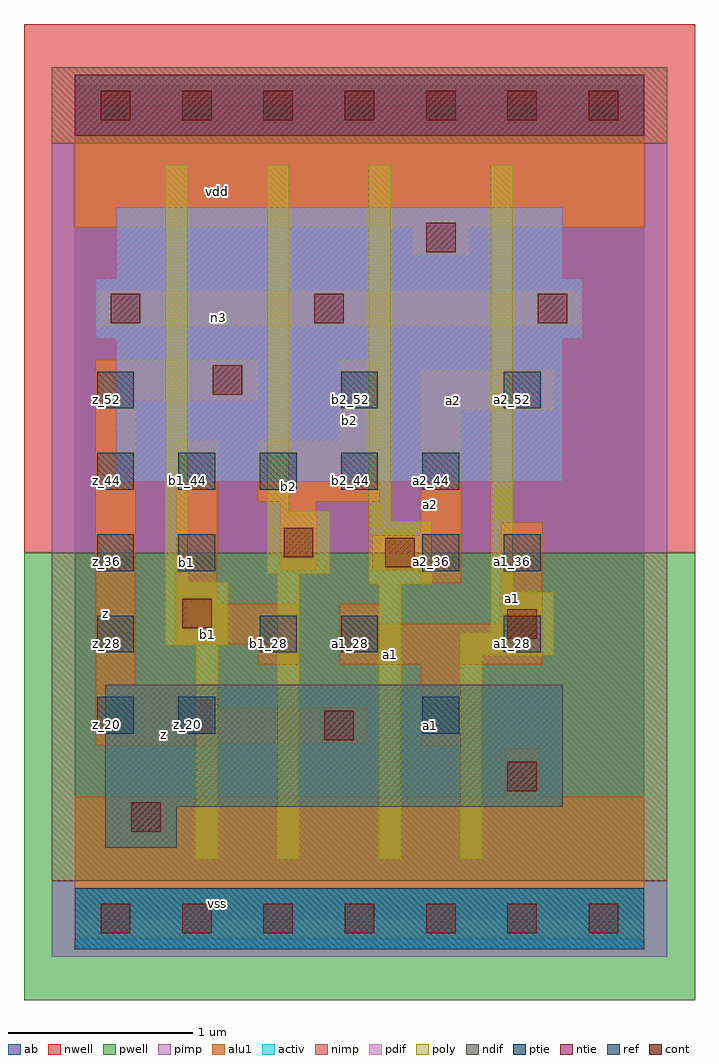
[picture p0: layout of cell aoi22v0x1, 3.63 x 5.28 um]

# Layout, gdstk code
import gdstk
lib = gdstk.Library(unit=1e-6, precision=2.5e-09)
def R(c, l, rs):  # rectangles x0, y0, x1, y1
    for r in rs: c.add(gdstk.rectangle(r[:2], r[2:], *l))
def A(c, l, x, y, w, h, nx, ny, dx, dy):  # array of equal rectangles
    R(c, l, [(x+i*dx, y+j*dy, x+i*dx+w, y+j*dy+h) for i in range(nx) for j in range(ny)])
ndif = (3, 0)
pdif = (4, 0)
ntie = (5, 0)
ptie = (6, 0)
ref = (24, 0)
cont = (25, 0)
pwell = (41, 0)
nwell = (42, 0)
activ = (43, 0)
pimp = (44, 0)
nimp = (45, 0)
poly = (46, 0)
alu1 = (49, 0)
ab = (63, 0)

aoi22v0x1 = lib.new_cell('aoi22v0x1')
R(aoi22v0x1, ndif, [(0.165,0.385,0.55,0.605), (0.165,0.605,2.64,1.265)])
R(aoi22v0x1, pdif, [(0.22,2.365,2.64,3.135), (0.11,3.135,2.75,3.465), (0.22,3.465,2.64,3.85)])
R(aoi22v0x1, ntie, [(0,4.235,3.08,4.565)])
R(aoi22v0x1, ptie, [(0,-0.165,3.08,0.165)])
A(aoi22v0x1, ref, 0.12, 1, 0.2, 0.2, 1, 3, 0, 0.44)
A(aoi22v0x1, ref, 0.12, 2.32, 0.2, 0.2, 5, 1, 0.44, 0)
R(aoi22v0x1, ref, [(0.56,1,0.76,1.2), (1.88,1,2.08,1.2), (1,1.44,1.2,1.64), (1.44,1.44,1.64,1.64), (2.32,1.44,2.52,1.64), (0.56,1.88,0.76,2.08), (1.88,1.88,2.08,2.08), (2.32,1.88,2.52,2.08), (0.12,2.76,0.32,2.96), (1.44,2.76,1.64,2.96), (2.32,2.76,2.52,2.96)])
A(aoi22v0x1, cont, 0.14, -0.08, 0.16, 0.16, 7, 2, 0.44, 4.4)
R(aoi22v0x1, cont, [(0.305,0.47,0.465,0.63), (2.34,0.69,2.5,0.85), (1.35,0.965,1.51,1.125), (2.34,1.515,2.5,1.675), (0.58,1.57,0.74,1.73), (1.68,1.9,1.84,2.06), (1.13,1.955,1.29,2.115), (0.745,2.835,0.905,2.995), (0.195,3.22,0.355,3.38), (1.295,3.22,1.455,3.38), (2.505,3.22,2.665,3.38), (1.9,3.605,2.06,3.765)])
R(aoi22v0x1, pwell, [(-0.275,-0.44,3.355,1.98)])
R(aoi22v0x1, nwell, [(-0.275,1.98,3.355,4.84)])
R(aoi22v0x1, activ, [(0,-0.165,3.08,0.165), (0.165,0.385,0.55,0.605), (0.165,0.605,2.64,1.265), (0.22,2.365,2.64,3.135), (0.11,3.135,2.75,3.465), (0.22,3.465,2.64,3.85), (0,4.235,3.08,4.565)])
R(aoi22v0x1, pimp, [(-0.125,-0.205,3.205,0.205), (-0.125,1.98,3.205,4.195)])
R(aoi22v0x1, nimp, [(-0.125,0.205,3.205,1.98), (-0.125,4.195,3.205,4.605)])
R(aoi22v0x1, poly, [(0.655,0.325,0.775,1.48), (1.095,0.325,1.215,1.865), (1.645,0.325,1.765,1.81), (2.085,0.325,2.205,1.425), (2.085,1.425,2.59,1.545), (0.49,1.48,0.83,1.82), (2.25,1.545,2.59,1.765), (2.25,1.765,2.37,4.075), (1.59,1.81,1.93,2.15), (0.49,1.82,0.61,4.075), (1.04,1.865,1.38,2.205), (1.59,2.15,1.71,4.075), (1.04,2.205,1.16,4.075)])
R(aoi22v0x1, alu1, [(0,-0.11,3.08,0.66), (2.325,0.66,2.515,0.92), (0.11,0.935,0.77,0.95), (1.87,0.935,2.09,1.375), (0.11,0.95,1.58,1.14), (0.11,1.14,0.77,1.265), (0.11,1.265,0.33,2.805), (0.99,1.375,1.21,1.485), (1.43,1.375,2.53,1.595), (0.55,1.485,1.21,1.705), (1.43,1.595,1.65,1.705), (2.31,1.595,2.53,2.145), (0.55,1.705,0.77,2.585), (1.87,1.815,2.09,1.885), (1.115,1.885,1.305,2.255), (1.61,1.885,2.09,2.075), (1.87,2.075,2.09,2.75), (0.99,2.255,1.65,2.585), (1.43,2.585,1.65,3.025), (1.87,2.75,2.585,2.97), (0.11,2.805,0.99,3.025), (0.125,3.205,2.735,3.395), (1.83,3.59,2.13,3.74), (0,3.74,3.08,4.51)])
R(aoi22v0x1, ab, [(0,0,3.08,4.4)])
aoi22v0x1.add(gdstk.Label('vss', (0.77,0.0825), layer=49, texttype=0))
aoi22v0x1.add(gdstk.Label('a1', (1.925,1.045), layer=49, texttype=0))
aoi22v0x1.add(gdstk.Label('z', (0.4775,0.9975), layer=49, texttype=0))
aoi22v0x1.add(gdstk.Label('a1', (1.705,1.43), layer=49, texttype=0))
aoi22v0x1.add(gdstk.Label('a1', (2.365,1.7325), layer=49, texttype=0))
aoi22v0x1.add(gdstk.Label('b1', (0.715,1.54), layer=49, texttype=0))
aoi22v0x1.add(gdstk.Label('a2', (1.925,2.2425), layer=49, texttype=0))
aoi22v0x1.add(gdstk.Label('a2', (2.0475,2.805), layer=49, texttype=0))
aoi22v0x1.add(gdstk.Label('b2', (1.155,2.3375), layer=49, texttype=0))
aoi22v0x1.add(gdstk.Label('b1', (0.605,1.925), layer=49, texttype=0))
aoi22v0x1.add(gdstk.Label('b2', (1.485,2.695), layer=49, texttype=0))
aoi22v0x1.add(gdstk.Label('z', (0.165,1.65), layer=49, texttype=0))
aoi22v0x1.add(gdstk.Label('n3', (0.7775,3.2525), layer=49, texttype=0))
aoi22v0x1.add(gdstk.Label('vdd', (0.77,3.9325), layer=49, texttype=0))
aoi22v0x1.add(gdstk.Label('z_20', (0.61,1.05), layer=24, texttype=0))
aoi22v0x1.add(gdstk.Label('b1_36', (0.61,1.93), layer=24, texttype=0))
aoi22v0x1.add(gdstk.Label('b1_44', (0.61,2.37), layer=24, texttype=0))
aoi22v0x1.add(gdstk.Label('b1_28', (1.05,1.49), layer=24, texttype=0))
aoi22v0x1.add(gdstk.Label('b2_44', (1.05,2.37), layer=24, texttype=0))
aoi22v0x1.add(gdstk.Label('a1_28', (1.49,1.49), layer=24, texttype=0))
aoi22v0x1.add(gdstk.Label('b2_44', (1.49,2.37), layer=24, texttype=0))
aoi22v0x1.add(gdstk.Label('b2_52', (1.49,2.81), layer=24, texttype=0))
aoi22v0x1.add(gdstk.Label('a1_20', (1.93,1.05), layer=24, texttype=0))
aoi22v0x1.add(gdstk.Label('a2_36', (1.93,1.93), layer=24, texttype=0))
aoi22v0x1.add(gdstk.Label('a2_44', (1.93,2.37), layer=24, texttype=0))
aoi22v0x1.add(gdstk.Label('z_20', (0.17,1.05), layer=24, texttype=0))
aoi22v0x1.add(gdstk.Label('z_28', (0.17,1.49), layer=24, texttype=0))
aoi22v0x1.add(gdstk.Label('z_36', (0.17,1.93), layer=24, texttype=0))
aoi22v0x1.add(gdstk.Label('z_44', (0.17,2.37), layer=24, texttype=0))
aoi22v0x1.add(gdstk.Label('z_52', (0.17,2.81), layer=24, texttype=0))
aoi22v0x1.add(gdstk.Label('a1_28', (2.37,1.49), layer=24, texttype=0))
aoi22v0x1.add(gdstk.Label('a1_36', (2.37,1.93), layer=24, texttype=0))
aoi22v0x1.add(gdstk.Label('a2_52', (2.37,2.81), layer=24, texttype=0))

lib.write_gds('aoi22v0x1.gds')
